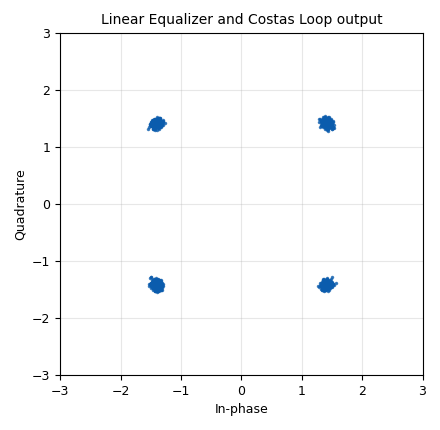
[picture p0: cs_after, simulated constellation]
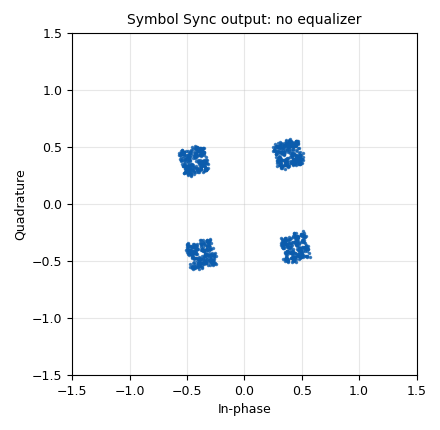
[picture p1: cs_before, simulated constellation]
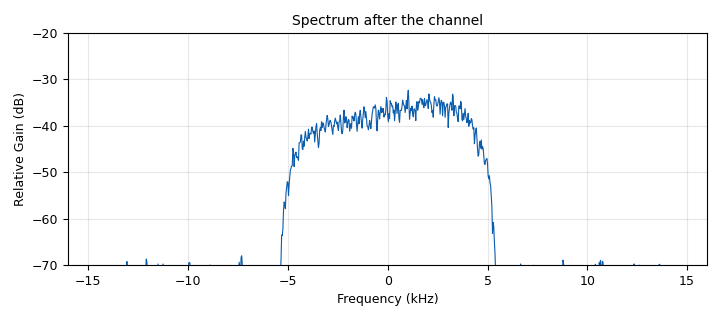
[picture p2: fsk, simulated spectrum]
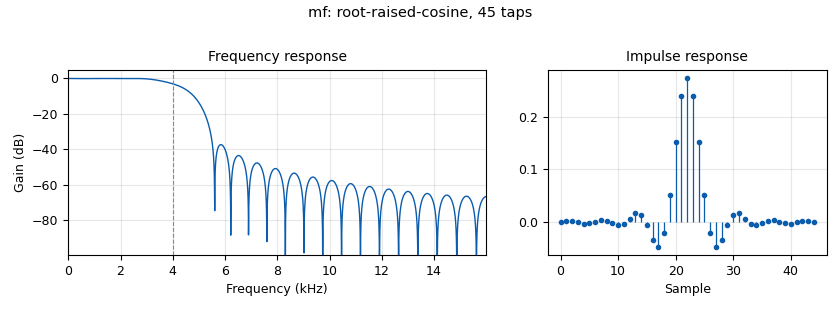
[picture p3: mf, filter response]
options:
  parameters:
    author: ECE 448
    description: 'L15: QPSK from a Constellation Modulator through a Channel Model whose taps come from four sliders, as in the GNU Radio wiki PSK tutorial, stage 4. Lower a tap to cut a notch in the spectrum and smear the constellation; the Linear Equalizer (CMA) undoes it.'
    generate_options: qt_gui
    id: L15_psk_multipath
    output_language: python
    title: L15 - Multipath and the Equalizer
  states: {}

blocks:
- name: cma
  id: variable_adaptive_algorithm
  parameters:
    cons: qpsk
    modulus: '4'
    step_size: '0.001'
    type: cma
  states: {}
- name: excess_bw
  id: variable
  parameters:
    value: '0.35'
  states: {}
- name: qpsk
  id: variable
  parameters:
    value: digital.constellation_rect([0.707+0.707j, -0.707+0.707j, -0.707-0.707j, 0.707-0.707j], [0, 1, 2, 3], 4, 2, 2, 1, 1).base()
  states: {}
- name: rx_taps
  id: variable
  parameters:
    value: firdes.root_raised_cosine(1.0, samp_rate, samp_rate/sps, excess_bw, 11*sps)
  states: {}
- name: samp_rate
  id: variable
  parameters:
    value: '32000'
  states: {}
- name: sps
  id: variable
  parameters:
    value: '4'
  states: {}
- name: tap1
  id: variable_qtgui_range
  parameters:
    gui_hint: 0,0,1,1
    label: Tap 1
    min_len: '150'
    start: '0'
    step: '0.05'
    stop: '1'
    value: '0.25'
  states: {}
- name: tap2
  id: variable_qtgui_range
  parameters:
    gui_hint: 0,1,1,1
    label: Tap 2
    min_len: '150'
    start: '0'
    step: '0.05'
    stop: '1'
    value: '0.5'
  states: {}
- name: tap3
  id: variable_qtgui_range
  parameters:
    gui_hint: 0,2,1,1
    label: Tap 3
    min_len: '150'
    start: '0'
    step: '0.05'
    stop: '1'
    value: '0.6'
  states: {}
- name: tap4
  id: variable_qtgui_range
  parameters:
    gui_hint: 0,3,1,1
    label: Tap 4
    min_len: '150'
    start: '0'
    step: '0.05'
    stop: '1'
    value: '0.6'
  states: {}
- name: taps
  id: variable
  parameters:
    comment: Channel gains at five frequencies. Tap 3 is the band's center, Tap 2 and Tap 4 its edges; Tap 1 and the fixed 1.0 sit outside the signal's band
    value: list(ifftshift(ifft([tap3, tap4, 1.0, tap1, tap2])))
  states: {}
- name: ch
  id: channels_channel_model
  parameters:
    epsilon: '1.0'
    freq_offset: '0'
    noise_voltage: '0.02'
    seed: '0'
    taps: taps
  states: {}
- name: cl
  id: digital_costas_loop_cc
  parameters:
    order: '4'
    w: 6.28/100
  states: {}
- name: cs_after
  id: qtgui_const_sink_x
  parameters:
    grid: 'True'
    gui_hint: 1,3,1,1
    legend: 'False'
    name: '"Linear Equalizer and Costas Loop output"'
    size: '1024'
    type: complex
    xmax: '3'
    xmin: '-3'
    ymax: '3'
    ymin: '-3'
  states: {}
- name: cs_before
  id: qtgui_const_sink_x
  parameters:
    grid: 'True'
    gui_hint: 1,1,1,2
    legend: 'False'
    name: '"Symbol Sync output: no equalizer"'
    size: '1024'
    type: complex
    xmax: '1.5'
    xmin: '-1.5'
    ymax: '1.5'
    ymin: '-1.5'
  states: {}
- name: eq
  id: digital_linear_equalizer
  parameters:
    alg: cma
    num_taps: '15'
    sps: '2'
    training_start_tag: '"corr_est"'
  states: {}
- name: fsk
  id: qtgui_freq_sink_x
  parameters:
    average: '0.05'
    bw: samp_rate
    fc: '0'
    fftsize: '1024'
    grid: 'True'
    gui_hint: 1,0,1,1
    label: '"Relative Gain"'
    legend: 'False'
    name: '"Spectrum after the channel"'
    type: complex
    units: '"dB"'
    ymax: '-20'
    ymin: '-70'
  states: {}
- name: import_0
  id: import
  parameters:
    imports: from numpy.fft import ifft, ifftshift
  states: {}
- name: mf
  id: fir_filter_xxx
  parameters:
    decim: '1'
    taps: rx_taps
    type: ccf
  states: {}
- name: mod
  id: digital_constellation_modulator
  parameters:
    constellation: qpsk
    differential: 'True'
    excess_bw: excess_bw
    samples_per_symbol: sps
  states: {}
- name: src
  id: analog_random_source_x
  parameters:
    max: '256'
    min: '0'
    num_samps: '10000'
    repeat: 'True'
    type: byte
  states: {}
- name: ss
  id: digital_symbol_sync_xx
  parameters:
    damping: '1.0'
    loop_bw: '0.045'
    max_dev: '1.5'
    osps: '2'
    resamp_type: digital.IR_MMSE_8TAP
    sps: sps
    ted_gain: '1.0'
    ted_type: digital.TED_GARDNER
    type: cc
  states: {}
- name: ss1
  id: digital_symbol_sync_xx
  parameters:
    damping: '1.0'
    loop_bw: '0.045'
    max_dev: '1.5'
    osps: '1'
    resamp_type: digital.IR_MMSE_8TAP
    sps: sps
    ted_gain: '1.0'
    ted_type: digital.TED_GARDNER
    type: cc
  states: {}
- name: thr
  id: blocks_throttle2
  parameters:
    samples_per_second: samp_rate
    type: complex
  states: {}

connections:
- [ch, '0', fsk, '0']
- [ch, '0', mf, '0']
- [cl, '0', cs_after, '0']
- [eq, '0', cl, '0']
- [mf, '0', ss, '0']
- [mf, '0', ss1, '0']
- [mod, '0', thr, '0']
- [src, '0', mod, '0']
- [ss, '0', eq, '0']
- [ss1, '0', cs_before, '0']
- [thr, '0', ch, '0']

metadata:
  file_format: 1
  grc_version: 3.10.9.2
